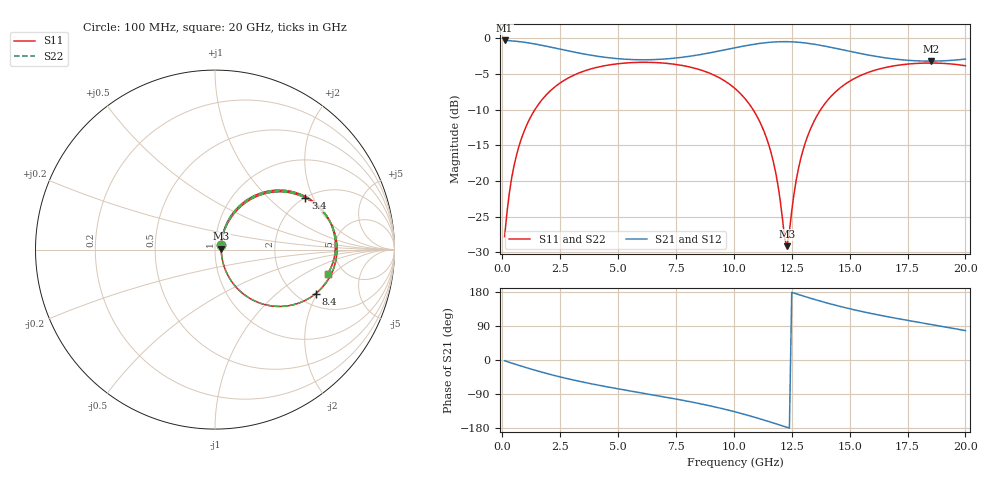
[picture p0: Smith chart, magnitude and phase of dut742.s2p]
! Touchstone file exported from HFSS 2026.1.0
!  File:  C:/ffzhzh/LocalFiles/Ansys_Project_Files/temp_train_TSV_RDL_742_1783204767_22436.aedt
!  Generated:  06:54:13 AM Jul  5, 2026
!  Design:  TSV_RDL
!  Project:  temp_train_TSV_RDL_742_1783204767_22436
! Variables:
!  h_bsmrdl = 5.56um
!  h_ox = 20um
!  h_rdl = 5um
!  h_sub = 66.1um
!  h_tmrdl = 2.96um
!  h_tsv = 66.1um
!  h_via = 3um
!  l_bsmrdl = 323.42um
!  l_sub = 5041.6um
!  l_tmrdl = 894.36um
!  m_sub = 200um
!  pitch = 57.94um
!  r_tsv = 6.15um
!  s_tmrdl = 10um
!  w_bsmrdl = 15.54um
!  w_sub = 500um
!  w_tmrdl = 15.76um
!  x_tsv_center1 = 902.24um
!  x_tsv_center2 = 1241.2um
!  x_tsv_center3 = 2151.32um
!  x_tsv_center4 = 2490.28um
!  x_tsv_center5 = 3400.4um
!  x_tsv_center6 = 3739.36um
# GHz S MA R 50.000000
! Terminal data exported
! Port[1] = TM_RDL1_1_T1
! Port[2] = TM_RDL5_1_T1
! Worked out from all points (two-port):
!   200 points, 100 MHz to 20 GHz, reference 50 ohm
!   highest |S21| = -0.28 dB at 100 MHz (marker M1); lowest = -3.2 dB at 18.5 GHz (marker M2)
!   |S21| within 3 dB of the highest: start of sweep to end of sweep
!   lowest |S11| = -29.2 dB at 12.3 GHz (marker M3), VSWR 1.07, Z = 53.6 + j0.556 ohm
!   |S11| at or under -10 dB: start of sweep to 1.409 GHz; 10.83 GHz to 13.75 GHz (2.921 GHz wide, 23.8 % of centre)
!   |S22| runs from -29.2 to -3.4 dB; largest |S21 - S12| = 1.4e-14
!   S11 on the Smith chart (normalised r, x): 100 MHz: 1.07, +0.05; 3.4 GHz: 2.01, +1.75; 8.4 GHz: 2.47, -1.94; 20 GHz: 3.77, -1.72
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0.1  0.04062 36.1  0.9677 -2.0  0.9677 -2.0  0.04062 36.1
! Gamma 0 0 0 0
! Port Impedance 50 0 50 0
0.3  0.0812 59.9  0.9642 -6.1  0.9642 -6.1  0.0812 59.9
0.5  0.1261 64.3  0.9585 -10.0  0.9585 -10.0  0.1261 64.3
1.1  0.2557 60.7  0.9321 -21.4  0.9321 -21.4  0.2557 60.7
2  0.4174 48.4  0.8749 -37.0  0.8749 -37.0  0.4174 48.4
3.4  0.5797 29.9  0.7844 -57.2  0.7844 -57.2  0.5797 29.9
3.5  0.5877 28.7  0.7789 -58.5  0.7789 -58.5  0.5876 28.7
5.1  0.667 10.9  0.7184 -77.2  0.7184 -77.2  0.667 10.9
6.8  0.6745 -6.3  0.7132 -95.3  0.7132 -95.3  0.6744 -6.3
8.4  0.6121 -23.7  0.7631 -113.6  0.7631 -113.6  0.6121 -23.7
10.1  0.4378 -45.5  0.8631 -137.5  0.8631 -137.5  0.4378 -45.6
10.9  0.3031 -56.7  0.9114 -151.1  0.9114 -151.1  0.303 -56.7
11.5  0.1809 -63.1  0.9377 -162.2  0.9377 -162.2  0.1809 -63.1
11.9  0.09438 -60.1  0.9471 -169.9  0.9471 -169.9  0.09437 -60.1
12.2  0.03918 -25.5  0.9491 -175.8  0.9491 -175.8  0.03918 -25.5
12.3  0.03482 8.6  0.9488 -177.7  0.9488 -177.7  0.03484 8.6
12.8  0.1241 65.3  0.9395 172.6  0.9395 172.6  0.1241 65.3
13.4  0.2497 62.6  0.9141 161.4  0.9141 161.4  0.2497 62.6
14.7  0.4642 45.3  0.8318 139.7  0.8318 139.7  0.4642 45.3
16.7  0.6325 21.3  0.7247 113.5  0.7247 113.5  0.6325 21.3
18.5  0.672 3.1  0.6928 93.9  0.6928 93.9  0.672 3.1
20  0.6431 -12.0  0.7164 77.6  0.7164 77.6  0.6431 -12.1
